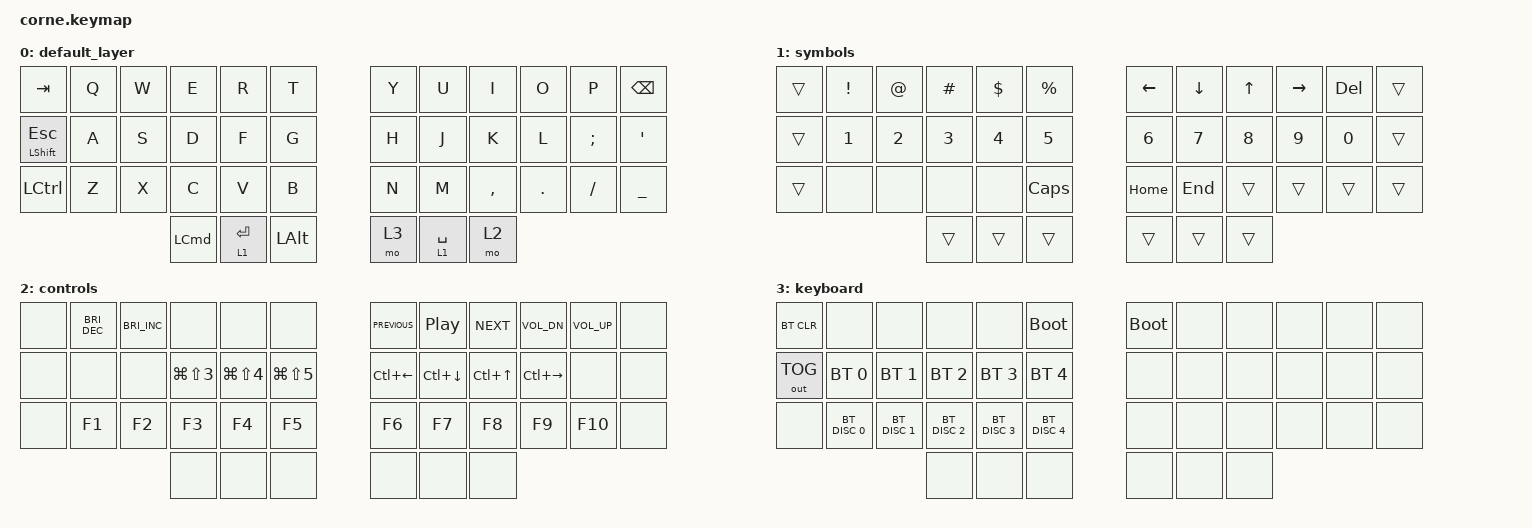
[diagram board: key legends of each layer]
/*
 * Copyright (c) 2020 The ZMK Contributors
 *
 * SPDX-License-Identifier: MIT
 */

#include <behaviors.dtsi>
#include <dt-bindings/zmk/bt.h>
#include <dt-bindings/zmk/keys.h>
#include <dt-bindings/zmk/outputs.h>

/ {
    combos {
        compatible = "zmk,combos";

        tilde {
            bindings = <&kp TILDE>;
            key-positions = <26 27>;
            layers = <0 1>;
        };

        grave {
            bindings = <&kp GRAVE>;
            key-positions = <13 14>;
            layers = <0 1>;
        };

        ampersand {
            bindings = <&kp AMPERSAND>;
            key-positions = <15 16>;
            layers = <0 1>;
        };

        caret {
            bindings = <&kp CARET>;
            key-positions = <14 15>;
            layers = <0 1>;
        };

        leftb {
            bindings = <&kp LEFT_BRACE>;
            key-positions = <6 7>;
            layers = <0 1>;
        };

        rightb {
            bindings = <&kp RIGHT_BRACE>;
            key-positions = <8 7>;
            layers = <0 1>;
        };

        leftp {
            bindings = <&kp LEFT_PARENTHESIS>;
            key-positions = <18 19>;
            layers = <0 1>;
        };

        rightp {
            bindings = <&kp RIGHT_PARENTHESIS>;
            key-positions = <19 20>;
            layers = <0 1>;
        };

        leftr {
            bindings = <&kp LEFT_BRACKET>;
            key-positions = <30 31>;
            layers = <0 1>;
        };

        rightr {
            bindings = <&kp RIGHT_BRACKET>;
            key-positions = <32 31>;
            layers = <0 1>;
        };

        plus {
            bindings = <&kp PLUS>;
            key-positions = <8 9>;
            layers = <0 1>;
        };

        equals {
            bindings = <&kp EQUAL>;
            key-positions = <20 21>;
            layers = <0 1>;
        };

        minus {
            bindings = <&kp MINUS>;
            key-positions = <32 33>;
            layers = <0 1>;
        };

        pipe {
            bindings = <&kp PIPE>;
            key-positions = <27 28>;
            layers = <0 1>;
        };

        multiply {
            bindings = <&kp ASTERISK>;
            key-positions = <16 17>;
            layers = <0 1>;
        };

        backslash {
            bindings = <&kp BACKSLASH>;
            key-positions = <28 29>;
            layers = <0 1>;
        };

        pageup {
            bindings = <&kp PAGE_UP>;
            key-positions = <20 8>;
            layers = <0 1>;
        };

        pagedown {
            bindings = <&kp PAGE_DOWN>;
            key-positions = <7 19>;
            layers = <0 1>;
        };
    };

    behaviors {
        space_layer_1: space_layer_1 {
            compatible = "zmk,behavior-hold-tap";
            label = "SPACE_LAYER_1";
            bindings = <&mo>, <&kp>;

            #binding-cells = <2>;
            tapping-term-ms = <200>;
            hold-trigger-key-positions = <40>;
            retro-tap;
            require-prior-idle-ms = <300>;
            flavor = "tap-preferred";
        };
    };

    keymap {
        compatible = "zmk,keymap";

        default_layer {
            // -----------------------------------------------------------------------------------------
            // |  TAB |  Q  |  W  |  E  |  R  |  T  |   |  Y  |  U   |  I  |  O  |  P  | BKSP |
            // | CTRL |  A  |  S  |  D  |  F  |  G  |   |  H  |  J   |  K  |  L  |  ;  |  '   |
            // | SHFT |  Z  |  X  |  C  |  V  |  B  |   |  N  |  M   |  ,  |  .  |  /  | ESC  |
            //                    | GUI | LWR | SPC |   | ENT | RSE  | ALT |

            bindings = <
&kp TAB                &kp Q  &kp W  &kp E             &kp R        &kp T           &kp Y  &kp U                   &kp I      &kp O    &kp P     &kp BSPC
&mt LEFT_SHIFT ESCAPE  &kp A  &kp S  &kp D             &kp F        &kp G           &kp H  &kp J                   &kp K      &kp L    &kp SEMI  &kp SQT
&kp LCTRL              &kp Z  &kp X  &kp C             &kp V        &kp B           &kp N  &kp M                   &kp COMMA  &kp DOT  &kp FSLH  &kp UNDER
                                     &kp LEFT_COMMAND  &lt 1 ENTER  &kp LEFT_ALT    &mo 3  &space_layer_1 1 SPACE  &mo 2
            >;
        };

        symbols {
            // -----------------------------------------------------------------------------------------
            // |  TAB |  !  |  @  |  #  |  $  |  %  |   |  ^  |  &  |  *  |  (  |  )  | BKSP |
            // | CTRL |     |     |     |     |     |   |  -  |  =  |  [  |  ]  |  \  |  `   |
            // | SHFT |     |     |     |     |     |   |  _  |  +  |  {  |  }  | "|" |  ~   |
            //                    | GUI |     | SPC |   | ENT |     | ALT |

            bindings = <
&trans  &kp EXCLAMATION  &kp AT_SIGN   &kp HASH      &kp DOLLAR    &kp PERCENT     &kp LEFT      &kp DOWN  &kp UP  &kp RIGHT  &kp DEL  &trans
&trans  &kp NUMBER_1     &kp NUMBER_2  &kp NUMBER_3  &kp NUMBER_4  &kp N5          &kp NUMBER_6  &kp N7    &kp N8  &kp N9     &kp N0   &trans
&trans  &none            &none         &none         &none         &kp CAPSLOCK    &kp HOME      &kp END   &trans  &trans     &trans   &trans
                                       &trans        &trans        &trans          &trans        &trans    &trans
            >;
        };

        controls {
            // -----------------------------------------------------------------------------------------
            // |  TAB |  1  |  2  |  3  |  4  |  5  |   |  6  |  7  |  8  |  9  |  0  | BKSP |
            // | BTCLR| BT1 | BT2 | BT3 | BT4 | BT5 |   | LFT | DWN |  UP | RGT |     |      |
            // | SHFT |     |     |     |     |     |   |     |     |     |     |     |      |
            //                    | GUI |     | SPC |   | ENT |     | ALT |

            bindings = <
&none  &kp C_BRIGHTNESS_DEC  &kp C_BRIGHTNESS_INC  &none           &none           &none             &kp C_PREVIOUS  &kp C_PLAY_PAUSE  &kp C_NEXT  &kp C_VOL_DN   &kp C_VOL_UP  &none
&none  &none                 &none                 &kp LG(LS(N3))  &kp LG(LS(N4))  &kp LG(LS(N5))    &kp LC(LEFT)    &kp LC(DOWN)      &kp LC(UP)  &kp LC(RIGHT)  &none         &none
&none  &kp F1                &kp F2                &kp F3          &kp F4          &kp F5            &kp F6          &kp F7            &kp F8      &kp F9         &kp F10       &none
                                                   &none           &none           &none             &none           &none             &none
            >;
        };

        keyboard {
            bindings = <
&bt BT_CLR    &none          &none          &none          &none          &bootloader      &bootloader  &none  &none  &none  &none  &none
&out OUT_TOG  &bt BT_SEL 0   &bt BT_SEL 1   &bt BT_SEL 2   &bt BT_SEL 3   &bt BT_SEL 4     &none        &none  &none  &none  &none  &none
&none         &bt BT_DISC 0  &bt BT_DISC 1  &bt BT_DISC 2  &bt BT_DISC 3  &bt BT_DISC 4    &none        &none  &none  &none  &none  &none
                                            &none          &none          &none            &none        &none  &none
            >;
        };
    };
};
